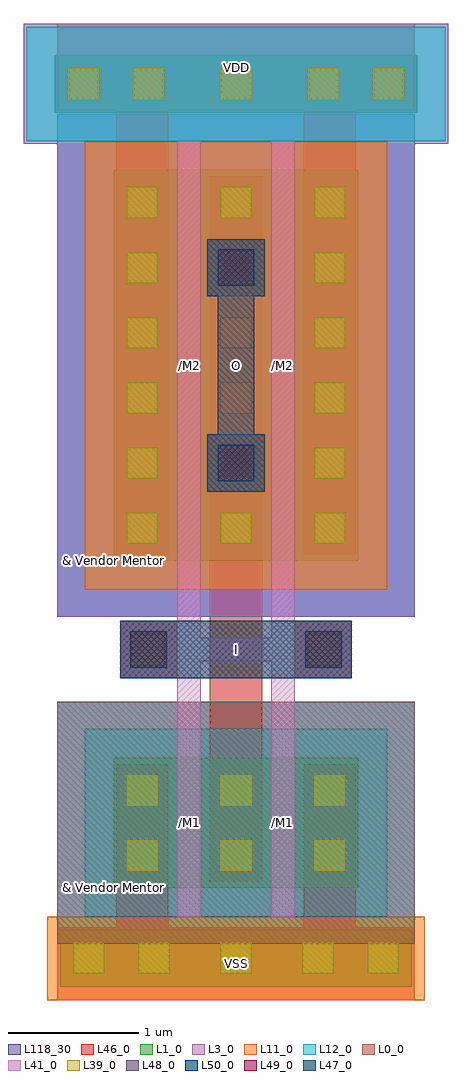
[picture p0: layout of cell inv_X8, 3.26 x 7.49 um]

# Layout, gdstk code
import gdstk
lib = gdstk.Library(unit=1e-6, precision=1e-09)
def R(c, l, rs):  # rectangles x0, y0, x1, y1
    for r in rs: c.add(gdstk.rectangle(r[:2], r[2:], *l))
def A(c, l, x, y, w, h, nx, ny, dx, dy):  # array of equal rectangles
    R(c, l, [(x+i*dx, y+j*dy, x+i*dx+w, y+j*dy+h) for i in range(nx) for j in range(ny)])
L0_0 = (0, 0)
L1_0 = (1, 0)
L3_0 = (3, 0)
L11_0 = (11, 0)
L12_0 = (12, 0)
L39_0 = (39, 0)
L41_0 = (41, 0)
L46_0 = (46, 0)
L47_0 = (47, 0)
L48_0 = (48, 0)
L49_0 = (49, 0)
L50_0 = (50, 0)
L118_30 = (118, 30)

m2m3 = lib.new_cell('M2M3')
R(m2m3, L48_0, [(-0.22,-0.22,0.22,0.22)])
R(m2m3, L49_0, [(-0.14,-0.14,0.14,0.14)])
R(m2m3, L50_0, [(-0.22,-0.22,0.22,0.22)])

mpoly = lib.new_cell('MPOLY')
R(mpoly, L39_0, [(-0.12,-0.12,0.12,0.12)])
R(mpoly, L41_0, [(-0.22,-0.22,0.22,0.22)])
R(mpoly, L46_0, [(-0.2,-0.2,0.2,0.2)])

m1m2 = lib.new_cell('M1M2')
R(m1m2, L46_0, [(-0.22,-0.22,0.22,0.22)])
R(m1m2, L47_0, [(-0.14,-0.14,0.14,0.14)])
R(m1m2, L48_0, [(-0.22,-0.22,0.22,0.22)])

inv_x8 = lib.new_cell('inv_X8')
R(inv_x8, L0_0, [(-1.57,-0.84,1.17,1.02)])
R(inv_x8, L1_0, [(-1.55,-1.17,1.15,-0.73), (-1.14,-0.41,0.74,0.59), (-1.14,-0.41,-0.65,0.59), (0.25,-0.41,0.74,0.59), (-1.14,2.1,0.74,5.1), (-1.14,2.1,-0.65,5.1), (0.25,2.1,0.74,5.1), (-1.59,5.54,1.19,5.98)])
R(inv_x8, L3_0, [(-1.57,1.67,1.17,5.53), (-1.83,5.3,1.43,6.22)])
R(inv_x8, L11_0, [(-1.65,-1.27,1.25,-0.63), (-1.36,1.88,0.96,5.32)])
R(inv_x8, L12_0, [(-1.36,-0.63,0.96,0.81), (-1.81,5.32,1.41,6.2)])
A(inv_x8, L39_0, -0.95, -1.07, 0.24, 0.24, 3, 1, 0.63, 0)
A(inv_x8, L39_0, -1.04, -0.28, 0.24, 0.24, 3, 2, 0.72, 0.5)
A(inv_x8, L39_0, -1.04, 2.23, 0.24, 0.24, 3, 6, 0.72, 0.5)
A(inv_x8, L39_0, -0.99, 5.64, 0.24, 0.24, 3, 1, 0.67, 0)
R(inv_x8, L39_0, [(-1.45,-1.07,-1.21,-0.83), (0.81,-1.07,1.05,-0.83), (-1.49,5.64,-1.25,5.88), (0.85,5.64,1.09,5.88)])
R(inv_x8, L41_0, [(-0.65,-0.63,-0.47,-0.41), (0.07,-0.63,0.25,-0.41), (-0.65,-0.41,-0.47,0.59), (0.07,-0.41,0.25,0.59), (-0.65,0.59,-0.47,0.81), (0.07,0.59,0.25,0.81), (-0.65,0.63,-0.47,2.06), (0.07,0.63,0.25,2.06), (-0.96,1.33,-0.66,1.51), (-0.65,1.33,0.25,1.51), (0.38,1.33,0.68,1.51), (-0.65,1.88,-0.47,2.1), (0.07,1.88,0.25,2.1), (-0.65,2.1,-0.47,5.1), (0.07,2.1,0.25,5.1), (-0.65,5.1,-0.47,5.32), (0.07,5.1,0.25,5.32)])
A(inv_x8, L46_0, -1.12, -0.36, 0.4, 0.9, 3, 1, 0.72, 0)
A(inv_x8, L46_0, -1.12, 2.15, 0.4, 2.9, 3, 1, 0.72, 0)
R(inv_x8, L46_0, [(-1.57,-1.27,1.17,-0.71), (-1.57,-1.19,1.17,-0.71), (-1.12,-1.11,-0.72,0.04), (0.32,-1.11,0.72,0.04), (-0.4,0.14,0,2.55), (-1.12,4.65,-0.72,5.96), (0.32,4.65,0.72,5.96), (-1.57,5.56,1.17,5.96), (-1.57,5.56,1.17,6.22)])
R(inv_x8, L48_0, [(-0.91,1.2,0.25,1.64)])
R(inv_x8, L50_0, [(-1.09,1.2,0.69,1.64), (-0.34,2.71,-0.06,4.49)])
R(inv_x8, L118_30, [(-1.57,-0.84,1.17,1.02), (-1.57,1.67,1.17,5.53)])
inv_x8.add(gdstk.Reference(m2m3, (-0.87,1.42)))
inv_x8.add(gdstk.Reference(mpoly, (-0.87,1.42)))
inv_x8.add(gdstk.Reference(m2m3, (0.47,1.42)))
inv_x8.add(gdstk.Reference(m2m3, (-0.2,4.35)))
inv_x8.add(gdstk.Reference(m1m2, (-0.87,1.42)))
inv_x8.add(gdstk.Reference(m1m2, (-0.2,2.85)))
inv_x8.add(gdstk.Reference(m1m2, (-0.2,4.35)))
inv_x8.add(gdstk.Reference(m1m2, (0.47,1.42)))
inv_x8.add(gdstk.Reference(mpoly, (0.47,1.42)))
inv_x8.add(gdstk.Reference(m2m3, (-0.2,2.85)))
inv_x8.add(gdstk.Label('/M1', (-0.56,0.09), layer=85, texttype=0))
inv_x8.add(gdstk.Label('/M1', (0.16,0.09), layer=85, texttype=0))
inv_x8.add(gdstk.Label('& Vendor Mentor', (-1.14,-0.41), layer=63, texttype=63))
inv_x8.add(gdstk.Label('& Product UMC180FDKMFM', (-1.14,-0.41), layer=63, texttype=63))
inv_x8.add(gdstk.Label('& Version A01', (-1.14,-0.41), layer=63, texttype=63))
inv_x8.add(gdstk.Label('& Metric 0', (-1.14,-0.41), layer=63, texttype=63))
inv_x8.add(gdstk.Label('& _PublicCode', (-1.14,-0.41), layer=63, texttype=63))
inv_x8.add(gdstk.Label('/M2', (-0.56,3.6), layer=85, texttype=0))
inv_x8.add(gdstk.Label('/M2', (0.16,3.6), layer=85, texttype=0))
inv_x8.add(gdstk.Label('& Vendor Mentor', (-1.14,2.1), layer=63, texttype=63))
inv_x8.add(gdstk.Label('& Product UMC180FDKMFM', (-1.14,2.1), layer=63, texttype=63))
inv_x8.add(gdstk.Label('& Version A01', (-1.14,2.1), layer=63, texttype=63))
inv_x8.add(gdstk.Label('& Metric 0', (-1.14,2.1), layer=63, texttype=63))
inv_x8.add(gdstk.Label('& _PublicCode', (-1.14,2.1), layer=63, texttype=63))
inv_x8.add(gdstk.Label('I', (-0.2,1.42), layer=103, texttype=0))
inv_x8.add(gdstk.Label('O', (-0.2,3.6), layer=103, texttype=0))
inv_x8.add(gdstk.Label('VSS', (-0.2,-0.99), layer=101, texttype=0))
inv_x8.add(gdstk.Label('VDD', (-0.2,5.89), layer=101, texttype=0))

lib.write_gds('inv_X8.gds')
